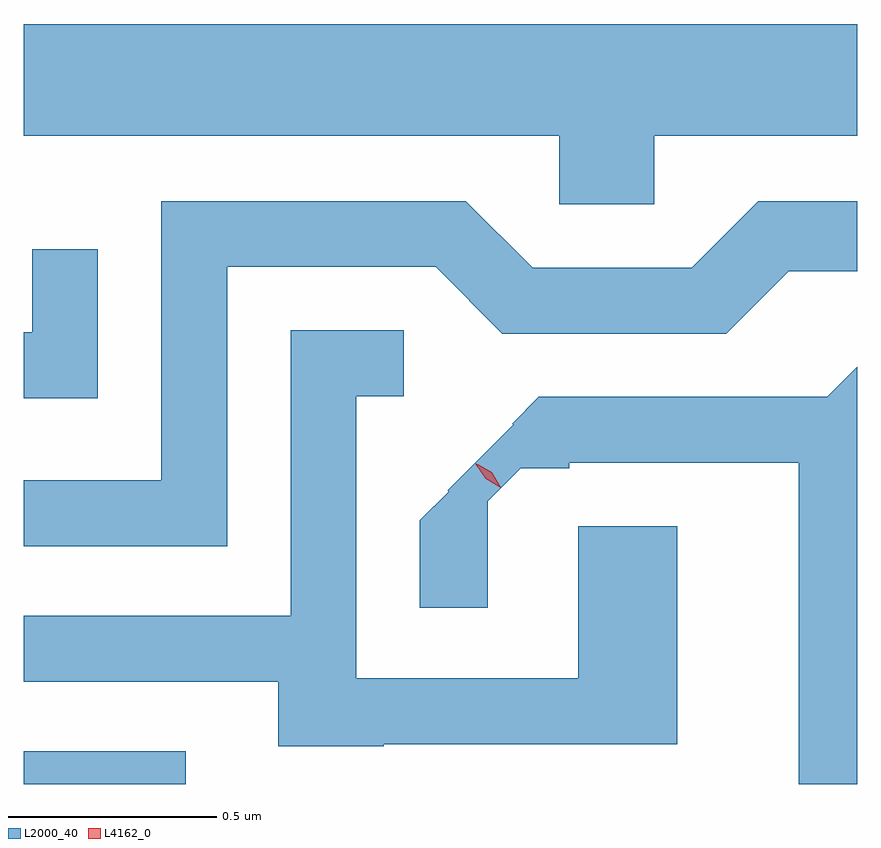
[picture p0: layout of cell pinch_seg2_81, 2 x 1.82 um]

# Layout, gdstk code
import gdstk
lib = gdstk.Library(unit=1e-6, precision=1e-09)
def R(c, l, rs):  # rectangles x0, y0, x1, y1
    for r in rs: c.add(gdstk.rectangle(r[:2], r[2:], *l))
def P(c, l, *ps):  # polygons
    for p in ps: c.add(gdstk.Polygon(p, *l))
L2000_40 = (2000, 40)
L4162_0 = (4162, 0)

pinch_seg2_81 = lib.new_cell('pinch_seg2_81')
R(pinch_seg2_81, L2000_40, [(1223.161,1011.24,1223.549,1011.319)])
P(pinch_seg2_81, L2000_40, [(1224.674,1012.796),(1225.161,1012.796),(1225.161,1013.064),(1223.161,1013.064),(1223.161,1012.796),(1224.446,1012.796),(1224.446,1012.631),(1224.674,1012.631)],
  [(1223.649,1012.481),(1224.149,1012.481),(1224.309,1012.321),(1224.847,1012.321),(1224.997,1012.471),(1225.161,1012.471),(1225.161,1012.639),(1224.924,1012.639),(1224.764,1012.479),(1224.382,1012.479),(1224.222,1012.639),(1223.491,1012.639),(1223.491,1011.969),(1223.161,1011.969),(1223.161,1011.811),(1223.649,1011.811)],
  [(1223.339,1012.523),(1223.181,1012.523),(1223.181,1012.324),(1223.161,1012.324),(1223.161,1012.166),(1223.339,1012.166)],
  [(1224.025,1011.336),(1224.729,1011.336),(1224.729,1011.859),(1224.491,1011.859),(1224.491,1011.494),(1223.959,1011.494),(1223.959,1012.171),(1224.073,1012.171),(1224.073,1012.329),(1223.801,1012.329),(1223.801,1011.644),(1223.161,1011.644),(1223.161,1011.486),(1223.771,1011.486),(1223.771,1011.331),(1224.025,1011.331)],
  [(1225.161,1012.241),(1225.089,1012.169),(1224.397,1012.169),(1224.333,1012.105),(1224.336,1012.102),(1224.178,1011.945),(1224.181,1011.942),(1224.111,1011.873),(1224.111,1011.663),(1224.274,1011.663),(1224.274,1011.919),(1224.353,1011.998),(1224.47,1011.998),(1224.47,1012.011),(1225.021,1012.011),(1225.021,1011.24),(1225.161,1011.24)])
P(pinch_seg2_81, L4162_0, [(1224.305,1011.951),(1224.269,1011.973),(1224.246,1012.008),(1224.246,1012.009),(1224.247,1012.009),(1224.283,1011.987),(1224.306,1011.952),(1224.306,1011.951)],
  [(1224.302,1011.957),(1224.27,1011.974),(1224.252,1012.005),(1224.252,1012.006),(1224.253,1012.006),(1224.284,1011.988),(1224.302,1011.958),(1224.302,1011.957)])

lib.write_gds('pinch_seg2_81.gds')
